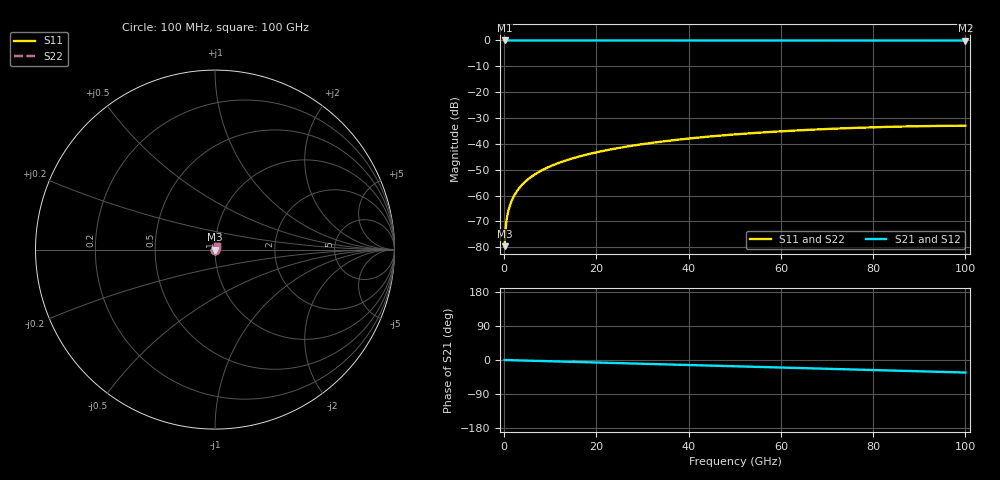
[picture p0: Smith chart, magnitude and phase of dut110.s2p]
! Touchstone file exported from HFSS 2026.1.0
!  File:  C:/ffzhzh/LocalFiles/Ansys_Project_Files/temp_train_TSV_110_1783505918_44152.aedt
!  Generated:  06:19:50 PM Jul  8, 2026
!  Design:  TSV
!  Project:  temp_train_TSV_110_1783505918_44152
! Variables:
!  h_bsmrdl = 2um
!  h_ox = 20um
!  h_rdl = 5um
!  h_sub = 62.18um
!  h_tmrdl = 5um
!  h_tsv = 62.18um
!  h_via = 3um
!  l_bsmrdl = 300um
!  l_sub = 423.9um
!  l_tmrdl = 200um
!  m_sub = 200um
!  pitch = 50.58um
!  r_tsv = 11.95um
!  s_tmrdl = 10um
!  w_bsmrdl = 18um
!  w_sub = 500um
!  w_tmrdl = 12um
!  x_tsv_center1 = 206um
!  x_tsv_center2 = 524um
!  x_tsv_center3 = 736um
!  x_tsv_center4 = 1054um
!  x_tsv_center5 = 1266um
!  x_tsv_center6 = 1584um
# GHz S MA R 50.000000
! Terminal data exported
! Port[1] = TSV1_1_T1
! Port[2] = TSV1_1_T2
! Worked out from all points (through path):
!   1000 points, 100 MHz to 100 GHz, reference 50 ohm
!   highest |S21| = 0.00 dB at 100 MHz (marker M1); lowest = 0.0 dB at 100 GHz (marker M2)
!   group delay of S21, straight-line fit = 918 fs
!   lowest |S11| = -79.5 dB at 100 MHz (marker M3), VSWR 1.00, Z = 50 + j0.00672 ohm
!   |S11| at or under -10 dB: start of sweep to end of sweep
!   |S22| runs from -79.5 to -33.0 dB; largest |S21 - S12| = 2.1e-15
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0.1  0.0001054 39.6  0.9999 -0.0  0.9999 -0.0  0.0001054 39.6
! Gamma 0 0 0 0
! Port Impedance 50 0 50 0
0.4  0.0002729 62.8  0.9999 -0.1  0.9999 -0.1  0.0002729 62.8
0.7  0.0004164 65.6  0.9998 -0.2  0.9998 -0.2  0.0004164 65.6
0.8  0.0004595 66.2  0.9998 -0.3  0.9998 -0.3  0.0004595 66.2
1  0.0005421 67.4  0.9998 -0.3  0.9998 -0.3  0.0005421 67.4
1.3  0.0006616 69.0  0.9998 -0.4  0.9998 -0.4  0.0006616 69.0
1.8  0.000856 71.0  0.9997 -0.6  0.9997 -0.6  0.000856 71.0
2.4  0.001083 72.4  0.9997 -0.8  0.9997 -0.8  0.001083 72.4
3.1  0.00134 73.5  0.9996 -1.0  0.9996 -1.0  0.00134 73.5
3.9  0.001625 74.4  0.9996 -1.3  0.9996 -1.3  0.001625 74.4
4.9  0.001974 75.1  0.9995 -1.6  0.9995 -1.6  0.001973 75.2
6.1  0.002384 75.8  0.9995 -2.0  0.9995 -2.0  0.002384 75.8
8.9  0.003325 76.5  0.9994 -3.0  0.9994 -3.0  0.003325 76.5
12.4  0.004474 76.5  0.9993 -4.1  0.9993 -4.1  0.004474 76.5
16.8  0.005877 76.1  0.9991 -5.6  0.9991 -5.6  0.005877 76.1
24.2  0.008161 74.9  0.9989 -8.0  0.9989 -8.0  0.008161 74.9
33.4  0.01087 72.7  0.9987 -11.0  0.9987 -11.0  0.01087 72.8
41.3  0.01305 70.6  0.9986 -13.6  0.9986 -13.6  0.01305 70.6
50.1  0.01528 68.1  0.9984 -16.5  0.9984 -16.5  0.01528 68.1
66.7  0.01884 63.1  0.9981 -22.0  0.9981 -22.0  0.01884 63.1
83.4  0.02137 57.8  0.9978 -27.5  0.9978 -27.5  0.02137 57.8
100  0.02245 52.5  0.9974 -33.1  0.9974 -33.1  0.02245 52.5
